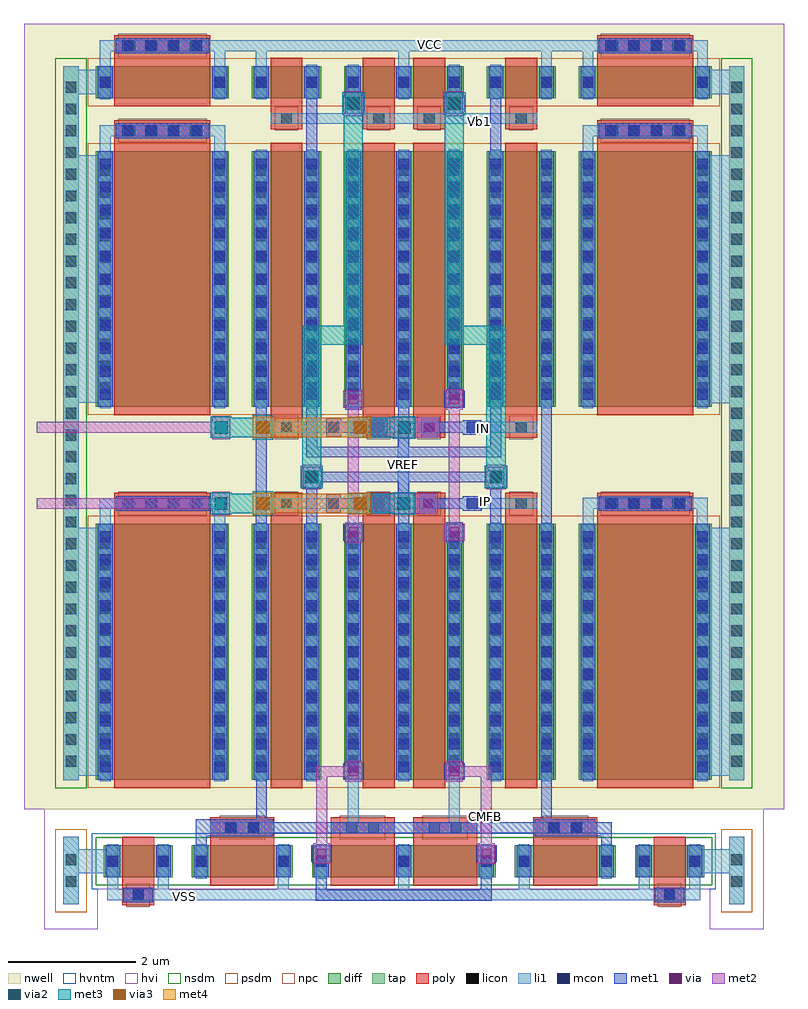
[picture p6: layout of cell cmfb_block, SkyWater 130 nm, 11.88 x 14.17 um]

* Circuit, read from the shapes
.subckt cmfb_block CMFB IN IP VCC VREF VSS Vb1
XM1 VSS VSS VSS VSS sky130_fd_pr__nfet_g5v0d10v5 w=0.5 l=0.5 m=2
XM2 VSS n1 n1 VSS sky130_fd_pr__nfet_g5v0d10v5 w=0.5 l=1 m=2
XM3 VSS CMFB CMFB VSS sky130_fd_pr__nfet_g5v0d10v5 w=0.5 l=1 m=2
XM4 VCC VCC VCC VCC sky130_fd_pr__pfet_g5v0d10v5 w=4 l=1.5 m=4
XM5 VCC VCC VCC VCC sky130_fd_pr__pfet_g5v0d10v5 w=0.5 l=1.5 m=2
XM6 n2 IP n1 VCC sky130_fd_pr__pfet_g5v0d10v5 w=4 l=0.5 m=2
XM7 n3 IN n1 VCC sky130_fd_pr__pfet_g5v0d10v5 w=4 l=0.5 m=2
XM8 n3 Vb1 VCC VCC sky130_fd_pr__pfet_g5v0d10v5 w=0.5 l=0.5 m=2
XM9 n2 VREF CMFB VCC sky130_fd_pr__pfet_g5v0d10v5 w=4 l=0.5 m=2
XM10 n3 VREF CMFB VCC sky130_fd_pr__pfet_g5v0d10v5 w=4 l=0.5 m=2
XM11 VCC Vb1 n2 VCC sky130_fd_pr__pfet_g5v0d10v5 w=0.5 l=0.5 m=2
.ends

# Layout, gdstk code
import gdstk
lib = gdstk.Library(unit=1e-6, precision=1e-09)
def R(c, l, rs):  # rectangles x0, y0, x1, y1
    for r in rs: c.add(gdstk.rectangle(r[:2], r[2:], *l))
def A(c, l, x, y, w, h, nx, ny, dx, dy):  # array of equal rectangles
    R(c, l, [(x+i*dx, y+j*dy, x+i*dx+w, y+j*dy+h) for i in range(nx) for j in range(ny)])
nwell = (64, 20)
diff = (65, 20)
tap = (65, 44)
poly = (66, 20)
licon = (66, 44)
li1 = (67, 20)
mcon = (67, 44)
met1 = (68, 20)
via = (68, 44)
met2 = (69, 20)
via2 = (69, 44)
met3 = (70, 20)
via3 = (70, 44)
met4 = (71, 20)
hvi = (75, 20)
nsdm = (93, 44)
psdm = (94, 20)
npc = (95, 20)
hvntm = (125, 20)

sky130_fd_pr__nfet_g5v0d = lib.new_cell('sky130_fd_pr__nfet_g5v0d10v5_6DL6AA')
R(sky130_fd_pr__nfet_g5v0d, diff, [(-0.79,-0.25,0.79,0.25)])
R(sky130_fd_pr__nfet_g5v0d, poly, [(-0.5,-0.38,0.5,0.38)])
R(sky130_fd_pr__nfet_g5v0d, licon, [(-0.73,-0.085,-0.56,0.085), (0.56,-0.085,0.73,0.085)])
R(sky130_fd_pr__nfet_g5v0d, li1, [(-0.73,-0.27,-0.56,0.27), (0.56,-0.27,0.73,0.27)])
R(sky130_fd_pr__nfet_g5v0d, mcon, [(-0.73,-0.085,-0.56,0.085), (0.56,-0.085,0.73,0.085)])
R(sky130_fd_pr__nfet_g5v0d, met1, [(-0.76,-0.25,-0.53,0.25), (0.53,-0.25,0.76,0.25)])
R(sky130_fd_pr__nfet_g5v0d, hvi, [(-0.975,-0.435,0.975,0.435)])
R(sky130_fd_pr__nfet_g5v0d, nsdm, [(-0.915,-0.375,0.915,0.375)])
R(sky130_fd_pr__nfet_g5v0d, hvntm, [(-0.975,-0.435,0.975,0.435)])

c_sky130_fd_pr__nfet_g5v0d = lib.new_cell('sky130_fd_pr__nfet_g5v0d10v5_GUWUK4')
R(c_sky130_fd_pr__nfet_g5v0d, diff, [(-0.54,-0.095,0.54,0.405)])
R(c_sky130_fd_pr__nfet_g5v0d, poly, [(-0.25,-0.535,0.25,0.535)])
R(c_sky130_fd_pr__nfet_g5v0d, licon, [(-0.085,-0.455,0.085,-0.285), (-0.48,0.07,-0.31,0.24), (0.31,0.07,0.48,0.24)])
R(c_sky130_fd_pr__nfet_g5v0d, li1, [(-0.25,-0.455,0.25,-0.285), (-0.48,-0.115,-0.31,0.425), (0.31,-0.115,0.48,0.425)])
R(c_sky130_fd_pr__nfet_g5v0d, mcon, [(-0.085,-0.455,0.085,-0.285), (-0.48,0.07,-0.31,0.24), (0.31,0.07,0.48,0.24)])
R(c_sky130_fd_pr__nfet_g5v0d, met1, [(-0.23,-0.485,0.23,-0.255), (-0.51,-0.095,-0.28,0.405), (0.28,-0.095,0.51,0.405)])
R(c_sky130_fd_pr__nfet_g5v0d, hvi, [(-0.725,-0.28,0.725,0.59)])
R(c_sky130_fd_pr__nfet_g5v0d, nsdm, [(-0.665,-0.22,0.665,0.53)])
R(c_sky130_fd_pr__nfet_g5v0d, npc, [(-0.185,-0.555,0.185,-0.185)])
R(c_sky130_fd_pr__nfet_g5v0d, hvntm, [(-0.725,-0.28,0.725,0.59)])

sky130_fd_pr__pfet_g5v0d = lib.new_cell('sky130_fd_pr__pfet_g5v0d10v5_3JERZF')
R(sky130_fd_pr__pfet_g5v0d, nwell, [(-1.22,-2.49,1.22,2.32)])
R(sky130_fd_pr__pfet_g5v0d, diff, [(-1.04,-2.18,1.04,1.82)])
R(sky130_fd_pr__pfet_g5v0d, poly, [(-0.75,-2.31,0.75,2.305)])
A(sky130_fd_pr__pfet_g5v0d, licon, -0.98, -1.965, 0.17, 0.17, 1, 11, 0, 0.34)
A(sky130_fd_pr__pfet_g5v0d, licon, 0.81, -1.965, 0.17, 0.17, 1, 11, 0, 0.34)
A(sky130_fd_pr__pfet_g5v0d, licon, -0.595, 2.055, 0.17, 0.17, 4, 1, 0.34, 0)
R(sky130_fd_pr__pfet_g5v0d, li1, [(-0.98,-2.2,-0.81,1.84), (0.81,-2.2,0.98,1.84), (-0.75,2.055,0.75,2.225)])
A(sky130_fd_pr__pfet_g5v0d, mcon, -0.98, -2.065, 0.17, 0.17, 1, 11, 0, 0.36)
A(sky130_fd_pr__pfet_g5v0d, mcon, 0.81, -2.065, 0.17, 0.17, 1, 11, 0, 0.36)
A(sky130_fd_pr__pfet_g5v0d, mcon, -0.625, 2.055, 0.17, 0.17, 4, 1, 0.36, 0)
R(sky130_fd_pr__pfet_g5v0d, met1, [(-1.01,-2.18,-0.78,1.82), (0.78,-2.18,1.01,1.82), (-0.73,2.025,0.73,2.255)])
R(sky130_fd_pr__pfet_g5v0d, hvi, [(-1.22,-2.49,1.22,-2.365), (-1.225,-2.365,1.225,2.005), (-1.22,2.005,1.22,2.32)])
R(sky130_fd_pr__pfet_g5v0d, psdm, [(-1.165,-2.305,1.165,1.945)])
R(sky130_fd_pr__pfet_g5v0d, npc, [(-0.695,1.955,0.695,2.325)])

c_sky130_fd_pr__pfet_g5v0d = lib.new_cell('sky130_fd_pr__pfet_g5v0d10v5_JEERZ7')
R(c_sky130_fd_pr__pfet_g5v0d, nwell, [(-0.72,-2.31,0.72,2.31)])
R(c_sky130_fd_pr__pfet_g5v0d, diff, [(-0.54,-2,0.54,2)])
R(c_sky130_fd_pr__pfet_g5v0d, poly, [(-0.25,-2.13,0.25,2.13)])
A(c_sky130_fd_pr__pfet_g5v0d, licon, -0.48, -1.785, 0.17, 0.17, 1, 11, 0, 0.34)
A(c_sky130_fd_pr__pfet_g5v0d, licon, 0.31, -1.785, 0.17, 0.17, 1, 11, 0, 0.34)
R(c_sky130_fd_pr__pfet_g5v0d, li1, [(-0.48,-2.02,-0.31,2.02), (0.31,-2.02,0.48,2.02)])
A(c_sky130_fd_pr__pfet_g5v0d, mcon, -0.48, -1.885, 0.17, 0.17, 1, 11, 0, 0.36)
A(c_sky130_fd_pr__pfet_g5v0d, mcon, 0.31, -1.885, 0.17, 0.17, 1, 11, 0, 0.36)
R(c_sky130_fd_pr__pfet_g5v0d, met1, [(-0.51,-2,-0.28,2), (0.28,-2,0.51,2)])
R(c_sky130_fd_pr__pfet_g5v0d, hvi, [(-0.72,-2.31,0.72,-2.185), (-0.725,-2.185,0.725,2.185), (-0.72,2.185,0.72,2.31)])
R(c_sky130_fd_pr__pfet_g5v0d, psdm, [(-0.665,-2.125,0.665,2.125)])

c_sky130_fd_pr__pfet_g5v0d_ = lib.new_cell('sky130_fd_pr__pfet_g5v0d10v5_6LM9S7')
R(c_sky130_fd_pr__pfet_g5v0d_, nwell, [(-0.72,-0.56,0.72,0.56)])
R(c_sky130_fd_pr__pfet_g5v0d_, diff, [(-0.54,-0.25,0.54,0.25)])
R(c_sky130_fd_pr__pfet_g5v0d_, poly, [(-0.25,-0.38,0.25,0.38)])
R(c_sky130_fd_pr__pfet_g5v0d_, licon, [(-0.48,-0.085,-0.31,0.085), (0.31,-0.085,0.48,0.085)])
R(c_sky130_fd_pr__pfet_g5v0d_, li1, [(-0.48,-0.27,-0.31,0.27), (0.31,-0.27,0.48,0.27)])
R(c_sky130_fd_pr__pfet_g5v0d_, mcon, [(-0.48,-0.085,-0.31,0.085), (0.31,-0.085,0.48,0.085)])
R(c_sky130_fd_pr__pfet_g5v0d_, met1, [(-0.51,-0.25,-0.28,0.25), (0.28,-0.25,0.51,0.25)])
R(c_sky130_fd_pr__pfet_g5v0d_, hvi, [(-0.72,-0.56,0.72,-0.435), (-0.725,-0.435,0.725,0.435), (-0.72,0.435,0.72,0.56)])
R(c_sky130_fd_pr__pfet_g5v0d_, psdm, [(-0.665,-0.375,0.665,0.375)])

c_sky130_fd_pr__pfet_g5v0d__ = lib.new_cell('sky130_fd_pr__pfet_g5v0d10v5_7JP9SF')
R(c_sky130_fd_pr__pfet_g5v0d__, nwell, [(-1.22,-0.74,1.22,0.57)])
R(c_sky130_fd_pr__pfet_g5v0d__, diff, [(-1.04,-0.43,1.04,0.07)])
R(c_sky130_fd_pr__pfet_g5v0d__, poly, [(-0.75,-0.56,0.75,0.555)])
A(c_sky130_fd_pr__pfet_g5v0d__, licon, -0.595, 0.305, 0.17, 0.17, 4, 1, 0.34, 0)
R(c_sky130_fd_pr__pfet_g5v0d__, licon, [(-0.98,-0.265,-0.81,-0.095), (0.81,-0.265,0.98,-0.095)])
R(c_sky130_fd_pr__pfet_g5v0d__, li1, [(-0.98,-0.45,-0.81,0.09), (0.81,-0.45,0.98,0.09), (-0.75,0.305,0.75,0.475)])
A(c_sky130_fd_pr__pfet_g5v0d__, mcon, -0.625, 0.305, 0.17, 0.17, 4, 1, 0.36, 0)
R(c_sky130_fd_pr__pfet_g5v0d__, mcon, [(-0.98,-0.265,-0.81,-0.095), (0.81,-0.265,0.98,-0.095)])
R(c_sky130_fd_pr__pfet_g5v0d__, met1, [(-1.01,-0.43,-0.78,0.07), (0.78,-0.43,1.01,0.07), (-0.73,0.275,0.73,0.505)])
R(c_sky130_fd_pr__pfet_g5v0d__, hvi, [(-1.22,-0.74,1.22,-0.615), (-1.225,-0.615,1.225,0.255), (-1.22,0.255,1.22,0.57)])
R(c_sky130_fd_pr__pfet_g5v0d__, psdm, [(-1.165,-0.555,1.165,0.195)])
R(c_sky130_fd_pr__pfet_g5v0d__, npc, [(-0.695,0.205,0.695,0.575)])

cmfb_block = lib.new_cell('cmfb_block')
R(cmfb_block, nwell, [(10.89,-9.115,22.775,3.17)])
R(cmfb_block, tap, [(11.505,-10.6,11.745,-9.55), (21.915,-10.6,22.155,-9.55), (11.505,-8.66,11.745,2.505), (21.915,-8.66,22.155,2.505)])
R(cmfb_block, poly, [(13.805,-9.68,14.805,-9.24), (15.685,-9.68,16.685,-9.24), (16.975,-9.68,17.975,-9.24), (18.855,-9.68,19.855,-9.24), (14.745,-4.655,15.245,-4.17), (16.185,-4.655,16.685,-4.17), (16.975,-4.655,17.475,-4.17), (18.415,-4.655,18.915,-4.17), (14.745,-3.31,15.245,-2.825), (16.185,-3.31,16.685,-2.825), (16.975,-3.31,17.475,-2.825), (18.415,-3.31,18.915,-2.825), (14.745,1.52,15.245,2.005), (16.185,1.52,16.685,2.005), (16.975,1.52,17.475,2.005), (18.415,1.52,18.915,2.005)])
A(cmfb_block, licon, 11.54, -8.45, 0.17, 0.17, 1, 32, 0, 0.34)
A(cmfb_block, licon, 21.95, -8.45, 0.17, 0.17, 1, 32, 0, 0.34)
R(cmfb_block, licon, [(11.54,-10.33,11.71,-10.16), (21.95,-10.33,22.12,-10.16), (11.54,-9.99,11.71,-9.82), (21.95,-9.99,22.12,-9.82), (14.05,-9.49,14.22,-9.32), (14.39,-9.49,14.56,-9.32), (15.93,-9.49,16.1,-9.32), (16.27,-9.49,16.44,-9.32), (17.22,-9.49,17.39,-9.32), (17.56,-9.49,17.73,-9.32), (19.1,-9.49,19.27,-9.32), (19.44,-9.49,19.61,-9.32), (14.91,-4.42,15.08,-4.25), (16.35,-4.42,16.52,-4.25), (17.14,-4.42,17.31,-4.25), (18.58,-4.42,18.75,-4.25), (14.91,-3.23,15.08,-3.06), (16.35,-3.23,16.52,-3.06), (17.14,-3.23,17.31,-3.06), (18.58,-3.23,18.75,-3.06), (14.91,1.6,15.08,1.77), (16.35,1.6,16.52,1.77), (17.14,1.6,17.31,1.77), (18.58,1.6,18.75,1.77)])
R(cmfb_block, li1, [(11.505,-10.6,11.745,-10.12), (21.915,-10.6,22.155,-10.12), (12.195,-10.54,21.465,-10.37), (12.195,-10.37,12.365,-10.12), (12.985,-10.37,13.155,-9.795), (14.86,-10.37,15.03,-9.985), (16.745,-10.37,16.915,-9.99), (18.63,-10.37,18.8,-9.89), (20.505,-10.37,20.675,-10.1), (21.295,-10.37,21.465,-10.12), (11.505,-10.12,12.365,-10.07), (21.295,-10.12,22.155,-9.74), (11.505,-10.07,12.29,-9.74), (11.505,-9.74,11.745,-9.55), (21.915,-9.74,22.155,-9.55), (13.805,-9.49,14.805,-9.32), (15.685,-9.49,16.685,-9.32), (16.975,-9.49,17.975,-9.32), (18.855,-9.49,19.855,-9.32), (15.955,-9.32,16.125,-8.55), (17.535,-9.32,17.705,-8.54), (11.505,-8.66,11.745,-8.595), (21.915,-8.66,22.155,-8.595), (11.505,-8.595,12.205,-4.73), (21.415,-8.595,22.155,-4.83), (21.41,-4.83,22.155,-4.715), (19.625,-4.8,19.8,-4.42), (11.505,-4.73,12.245,-4.715), (11.505,-4.715,11.745,-2.76), (12.075,-4.715,12.245,-4.42), (13.865,-4.715,14.035,-4.42), (21.41,-4.715,21.585,-4.42), (21.915,-4.715,22.155,-2.765), (12.075,-4.42,14.035,-4.25), (14.745,-4.42,15.815,-4.25), (16.185,-4.42,17.475,-4.25), (17.815,-4.42,18.915,-4.25), (19.625,-4.42,21.585,-4.245), (16.735,-4.25,16.905,-3.23), (14.745,-3.23,15.82,-3.06), (16.185,-3.23,17.475,-3.06), (17.81,-3.23,18.915,-3.06), (21.415,-2.765,22.155,1.115), (11.505,-2.76,12.1,1.115), (11.505,1.115,11.745,2.065), (21.415,1.115,21.585,1.41), (21.915,1.115,22.155,2.065), (12.075,1.13,12.245,1.41), (19.625,1.145,19.795,1.41), (13.865,1.16,14.035,1.41), (12.075,1.41,14.035,1.58), (19.625,1.41,21.585,1.58), (14.745,1.6,18.915,1.77), (12.075,2.005,12.245,2.065), (21.415,2.005,21.585,2.065), (11.505,2.065,12.245,2.445), (16.745,2.065,16.915,2.74), (21.415,2.065,22.155,2.445), (18.975,2.11,19.145,2.74), (14.515,2.22,14.685,2.74), (13.865,2.345,14.035,2.74), (19.625,2.38,19.795,2.74), (11.505,2.445,11.745,2.505), (12.075,2.445,12.245,2.74), (21.415,2.445,21.585,2.74), (21.915,2.445,22.155,2.505), (12.075,2.74,21.585,2.91)])
R(cmfb_block, mcon, [(14.04,-9.49,14.21,-9.32), (14.4,-9.49,14.57,-9.32), (19.09,-9.49,19.26,-9.32), (19.45,-9.49,19.62,-9.32), (15.645,-4.42,15.815,-4.25), (17.815,-4.42,17.985,-4.25), (15.65,-3.23,15.82,-3.06), (17.81,-3.23,17.98,-3.06)])
R(cmfb_block, met1, [(15.455,-10.545,18.205,-10.375), (15.455,-10.375,15.625,-10.075), (18.035,-10.375,18.205,-9.94), (13.575,-10.12,13.745,-9.54), (15.46,-10.02,15.63,-9.94), (15.385,-9.94,15.705,-9.68), (17.96,-9.94,18.28,-9.68), (19.915,-9.805,20.085,-9.54), (13.575,-9.54,14.785,-9.49), (18.875,-9.54,20.085,-9.49), (13.575,-9.49,20.085,-9.32), (13.575,-9.32,14.785,-9.27), (18.875,-9.32,19.82,-9.275), (18.975,-9.275,19.145,-2.095), (14.52,-9.27,14.69,-8.595), (15.88,-8.655,16.2,-8.395), (17.46,-8.655,17.78,-8.395), (14.515,-8.595,14.69,-8.305), (16.745,-8.595,16.915,-4.005), (15.955,-8.395,16.125,-8.045), (17.535,-8.395,17.705,-8.31), (14.515,-8.305,14.685,-2.405), (18.185,-5.02,18.355,-4.08), (17.535,-4.965,17.705,-4.945), (15.955,-4.96,16.125,-4.915), (17.49,-4.945,17.75,-4.625), (15.88,-4.915,16.2,-4.655), (15.305,-4.82,15.475,-4.08), (17.07,-4.495,17.33,-4.42), (15.615,-4.48,15.845,-4.42), (16.28,-4.465,16.6,-4.42), (17.755,-4.45,18.045,-4.42), (15.615,-4.42,16.6,-4.25), (17.07,-4.42,18.045,-4.25), (15.615,-4.25,15.845,-4.19), (16.28,-4.25,16.6,-4.205), (17.07,-4.25,17.33,-4.175), (17.755,-4.25,18.045,-4.22), (15.26,-4.08,15.52,-4.005), (18.14,-4.08,18.4,-4.005), (15.26,-4.005,18.4,-3.835), (15.26,-3.835,15.52,-3.76), (18.14,-3.835,18.4,-3.76), (15.305,-3.615,18.35,-3.445), (15.305,-3.445,15.475,-2.47), (16.745,-3.445,16.915,-2.245), (18.18,-3.445,18.35,-2.59), (17.105,-3.305,17.365,-3.23), (15.62,-3.29,15.85,-3.23), (16.25,-3.275,16.57,-3.23), (17.75,-3.26,18.04,-3.23), (15.62,-3.23,16.57,-3.06), (17.105,-3.23,18.04,-3.06), (15.62,-3.06,15.85,-3), (16.25,-3.06,16.57,-3.015), (17.105,-3.06,17.365,-2.985), (17.75,-3.06,18.04,-3.03), (15.91,-2.865,16.17,-2.545), (17.46,-2.835,17.78,-2.575), (17.535,-2.575,17.705,-2.43), (15.955,-2.545,16.125,-2.53), (15.305,0.97,15.475,2.175), (18.185,0.99,18.355,2.205), (15.91,1.76,16.17,2.08), (17.49,1.76,17.75,2.08), (15.955,2.08,16.125,2.215), (17.535,2.08,17.705,2.215)])
R(cmfb_block, via, [(15.47,-9.885,15.62,-9.735), (18.045,-9.885,18.195,-9.735), (15.965,-8.6,16.115,-8.45), (17.545,-8.6,17.695,-8.45), (15.965,-4.86,16.115,-4.71), (17.545,-4.86,17.695,-4.71), (16.365,-4.41,16.515,-4.26), (17.125,-4.41,17.275,-4.26), (15.315,-3.995,15.465,-3.845), (18.195,-3.995,18.345,-3.845), (16.335,-3.22,16.485,-3.07), (17.16,-3.22,17.31,-3.07), (15.965,-2.78,16.115,-2.63), (17.545,-2.78,17.695,-2.63), (15.965,1.845,16.115,1.995), (17.545,1.845,17.695,1.995)])
R(cmfb_block, met2, [(15.415,-9.97,15.675,-9.65), (17.99,-9.97,18.25,-9.65), (15.46,-9.65,15.63,-8.61), (18.035,-9.65,18.205,-8.61), (15.91,-8.685,16.17,-8.61), (17.49,-8.685,17.75,-8.61), (15.46,-8.61,16.17,-8.44), (17.49,-8.61,18.205,-8.44), (15.91,-8.44,16.17,-8.365), (17.49,-8.44,17.75,-8.365), (15.91,-4.945,16.17,-4.625), (17.46,-4.915,17.78,-4.655), (17.535,-4.655,17.705,-2.865), (15.955,-4.625,16.125,-2.835), (13.83,-4.52,14.11,-4.42), (16.31,-4.495,17.36,-4.175), (11.09,-4.42,14.11,-4.25), (13.83,-4.25,14.11,-4.15), (15.24,-4.115,15.54,-4.05), (18.12,-4.115,18.42,-4.05), (15.23,-4.05,15.55,-3.79), (18.11,-4.05,18.43,-3.79), (15.24,-3.79,15.54,-3.725), (18.12,-3.79,18.42,-3.725), (13.835,-3.33,14.115,-3.23), (16.28,-3.305,17.395,-2.985), (11.09,-3.23,14.115,-3.06), (13.835,-3.06,14.115,-2.96), (17.49,-2.865,17.75,-2.545), (15.88,-2.835,16.2,-2.575), (15.89,1.725,16.19,1.79), (17.47,1.725,17.77,1.79), (15.88,1.79,16.2,2.05), (17.46,1.79,17.78,2.05), (15.89,2.05,16.19,2.115), (17.47,2.05,17.77,2.115)])
R(cmfb_block, via2, [(13.87,-4.435,14.07,-4.235), (16.73,-4.435,16.93,-4.235), (15.29,-4.02,15.49,-3.82), (18.17,-4.02,18.37,-3.82), (13.875,-3.245,14.075,-3.045), (16.735,-3.245,16.935,-3.045), (15.94,1.82,16.14,2.02), (17.52,1.82,17.72,2.02)])
R(cmfb_block, met3, [(14.47,-4.525,14.79,-4.485), (16.655,-4.51,17.005,-4.485), (13.805,-4.5,14.135,-4.485), (15.955,-4.495,16.335,-4.485), (13.805,-4.485,14.79,-4.185), (15.955,-4.485,17.005,-4.185), (13.805,-4.185,14.135,-4.17), (14.47,-4.185,14.79,-4.145), (15.955,-4.185,16.335,-4.175), (16.655,-4.185,17.005,-4.16), (15.215,-4.095,15.565,-3.745), (18.095,-4.095,18.445,-3.745), (15.24,-3.745,15.54,-1.855), (18.12,-3.745,18.42,-1.855), (14.47,-3.335,14.79,-3.295), (16.66,-3.32,17.01,-3.295), (13.81,-3.31,14.14,-3.295), (15.955,-3.305,16.335,-3.295), (13.81,-3.295,14.79,-2.995), (15.955,-3.295,17.01,-2.995), (13.81,-2.995,14.14,-2.98), (14.47,-2.995,14.79,-2.955), (15.955,-2.995,16.335,-2.985), (16.66,-2.995,17.01,-2.97), (15.24,-1.855,16.19,-1.555), (17.47,-1.855,18.42,-1.555), (15.89,-1.555,16.19,1.745), (17.47,-1.555,17.77,1.745), (15.865,1.745,16.215,2.095), (17.445,1.745,17.795,2.095)])
R(cmfb_block, via3, [(14.53,-4.435,14.73,-4.235), (16.045,-4.435,16.245,-4.235), (14.53,-3.245,14.73,-3.045), (16.045,-3.245,16.245,-3.045)])
R(cmfb_block, met4, [(14.465,-4.5,14.795,-4.485), (15.98,-4.5,16.31,-4.485), (14.465,-4.485,16.31,-4.185), (14.465,-4.185,14.795,-4.17), (15.98,-4.185,16.31,-4.17), (14.465,-3.31,14.795,-3.295), (15.98,-3.31,16.31,-3.295), (14.465,-3.295,16.31,-2.995), (14.465,-2.995,14.795,-2.98), (15.98,-2.995,16.31,-2.98)])
R(cmfb_block, hvi, [(11.205,-10.995,12.045,-9.495), (21.615,-10.995,22.455,-9.495), (11.205,-9.495,22.455,-9.115), (10.89,-9.115,22.775,3.17)])
R(cmfb_block, nsdm, [(13.34,-10.305,13.39,-9.555), (15.22,-10.305,15.27,-9.555), (18.39,-10.305,18.44,-9.555), (20.27,-10.305,20.32,-9.555), (11.38,-8.785,11.87,2.63), (21.79,-8.785,22.28,2.63)])
R(cmfb_block, psdm, [(11.38,-10.725,11.87,-9.425), (21.79,-10.725,22.28,-9.425), (14.22,-8.78,14.33,-4.53), (15.66,-8.78,15.77,-4.53), (17.89,-8.78,18,-4.53), (19.33,-8.78,19.44,-4.53), (14.22,-2.95,14.33,1.3), (15.66,-2.95,15.77,1.3), (17.89,-2.95,18,1.3), (19.33,-2.95,19.44,1.3), (14.22,1.88,14.33,2.63), (15.66,1.88,15.77,2.63), (17.89,1.88,18,2.63), (19.33,1.88,19.44,2.63)])
R(cmfb_block, npc, [(13.95,-9.59,14.66,-9.22), (15.83,-9.59,16.54,-9.22), (17.12,-9.59,17.83,-9.22), (19,-9.59,19.71,-9.22), (14.81,-4.52,15.18,-4.15), (16.25,-4.52,16.62,-4.15), (17.04,-4.52,17.41,-4.15), (18.48,-4.52,18.85,-4.15), (14.81,-3.33,15.18,-2.96), (16.25,-3.33,16.62,-2.96), (17.04,-3.33,17.41,-2.96), (18.48,-3.33,18.85,-2.96), (14.81,1.5,15.18,1.87), (16.25,1.5,16.62,1.87), (17.04,1.5,17.41,1.87), (18.48,1.5,18.85,1.87)])
cmfb_block.add(gdstk.Reference(sky130_fd_pr__nfet_g5v0d, (14.305,-9.93)))
cmfb_block.add(gdstk.Reference(c_sky130_fd_pr__nfet_g5v0d, (12.675,-10.085)))
cmfb_block.add(gdstk.Reference(sky130_fd_pr__pfet_g5v0d, (13.055,-6.475)))
cmfb_block.add(gdstk.Reference(c_sky130_fd_pr__pfet_g5v0d, (14.995,-6.655)))
cmfb_block.add(gdstk.Reference(sky130_fd_pr__nfet_g5v0d, (16.185,-9.93)))
cmfb_block.add(gdstk.Reference(sky130_fd_pr__nfet_g5v0d, (17.475,-9.93)))
cmfb_block.add(gdstk.Reference(c_sky130_fd_pr__pfet_g5v0d, (16.435,-6.655)))
cmfb_block.add(gdstk.Reference(c_sky130_fd_pr__pfet_g5v0d, (17.225,-6.655)))
cmfb_block.add(gdstk.Reference(sky130_fd_pr__nfet_g5v0d, (19.355,-9.93)))
cmfb_block.add(gdstk.Reference(sky130_fd_pr__pfet_g5v0d, (20.605,-6.475)))
cmfb_block.add(gdstk.Reference(c_sky130_fd_pr__pfet_g5v0d, (18.665,-6.655)))
cmfb_block.add(gdstk.Reference(c_sky130_fd_pr__nfet_g5v0d, (20.985,-10.085)))
cmfb_block.add(gdstk.Reference(sky130_fd_pr__pfet_g5v0d, (13.055,-0.645)))
cmfb_block.add(gdstk.Reference(c_sky130_fd_pr__pfet_g5v0d, (14.995,-0.825)))
cmfb_block.add(gdstk.Reference(c_sky130_fd_pr__pfet_g5v0d, (16.435,-0.825)))
cmfb_block.add(gdstk.Reference(c_sky130_fd_pr__pfet_g5v0d, (17.225,-0.825)))
cmfb_block.add(gdstk.Reference(sky130_fd_pr__pfet_g5v0d, (20.605,-0.645)))
cmfb_block.add(gdstk.Reference(c_sky130_fd_pr__pfet_g5v0d, (18.665,-0.825)))
cmfb_block.add(gdstk.Reference(c_sky130_fd_pr__pfet_g5v0d_, (14.995,2.255)))
cmfb_block.add(gdstk.Reference(c_sky130_fd_pr__pfet_g5v0d__, (13.055,2.435)))
cmfb_block.add(gdstk.Reference(c_sky130_fd_pr__pfet_g5v0d_, (17.225,2.255)))
cmfb_block.add(gdstk.Reference(c_sky130_fd_pr__pfet_g5v0d_, (16.435,2.255)))
cmfb_block.add(gdstk.Reference(c_sky130_fd_pr__pfet_g5v0d_, (18.665,2.255)))
cmfb_block.add(gdstk.Reference(c_sky130_fd_pr__pfet_g5v0d__, (20.605,2.435)))
cmfb_block.add(gdstk.Label('Vb1', (18.01,1.645), layer=67, texttype=5))
cmfb_block.add(gdstk.Label('IN', (18.07,-3.165), layer=67, texttype=5))
cmfb_block.add(gdstk.Label('IP', (18.1,-4.305), layer=67, texttype=5))
cmfb_block.add(gdstk.Label('VCC', (17.23,2.84), layer=67, texttype=5))
cmfb_block.add(gdstk.Label('VSS', (13.4,-10.475), layer=67, texttype=5))
cmfb_block.add(gdstk.Label('CMFB', (18.11,-9.23), layer=69, texttype=5))
cmfb_block.add(gdstk.Label('VREF', (16.82,-3.72), layer=67, texttype=5))

lib.write_gds('cmfb_block.gds')
